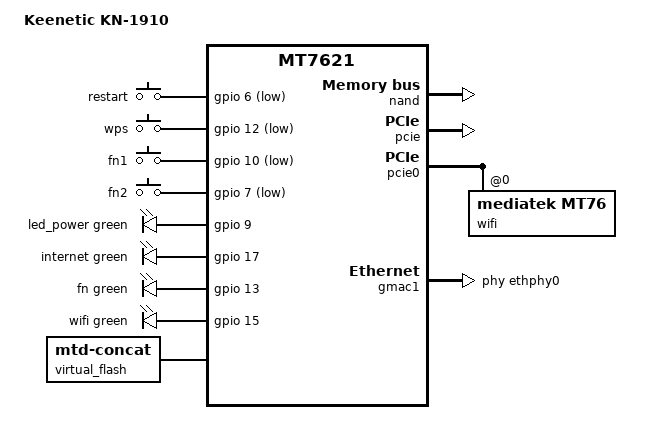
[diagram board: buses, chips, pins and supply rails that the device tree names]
// SPDX-License-Identifier: GPL-2.0-or-later OR MIT
#include "mt7621.dtsi"

#include <dt-bindings/gpio/gpio.h>
#include <dt-bindings/input/input.h>
#include <dt-bindings/leds/common.h>

/ {
	compatible = "keenetic,kn-1910", "mediatek,mt7621-soc";
	model = "Keenetic KN-1910";

	aliases {
		led-boot = &led_power;
		led-failsafe = &led_power;
		led-running = &led_power;
		led-upgrade = &led_power;
		label-mac-device = &gmac0;
	};

	keys {
		compatible = "gpio-keys";

		restart {
			label = "restart";
			gpios = <&gpio 6 GPIO_ACTIVE_LOW>;
			linux,code = <KEY_RESTART>;
		};

		wps {
			label = "wps";
			gpios = <&gpio 12 GPIO_ACTIVE_LOW>;
			linux,code = <KEY_WPS_BUTTON>;
		};

		fn1 {
			label = "fn1";
			gpios = <&gpio 10 GPIO_ACTIVE_LOW>;
			linux,code = <BTN_1>;
		};

		fn2 {
			label = "fn2";
			gpios = <&gpio 7 GPIO_ACTIVE_LOW>;
			linux,code = <BTN_2>;
		};
	};

	leds {
		compatible = "gpio-leds";

		led_power: power {
			function = LED_FUNCTION_POWER;
			color = <LED_COLOR_ID_GREEN>;
			gpios = <&gpio 9 GPIO_ACTIVE_HIGH>;
		};

		internet {
			function = LED_FUNCTION_WAN;
			color = <LED_COLOR_ID_GREEN>;
			gpios = <&gpio 17 GPIO_ACTIVE_HIGH>;
		};

		fn {
			function = LED_FUNCTION_WLAN_2GHZ;
			color = <LED_COLOR_ID_GREEN>;
			gpios = <&gpio 13 GPIO_ACTIVE_HIGH>;
			linux,default-trigger = "phy0tpt";
		};

		wifi {
			function = LED_FUNCTION_WLAN_5GHZ;
			color = <LED_COLOR_ID_GREEN>;
			gpios = <&gpio 15 GPIO_ACTIVE_HIGH>;
			linux,default-trigger = "phy1tpt";
		};
	};

	virtual_flash {
		compatible = "mtd-concat";
		devices = <&firmware1 &firmware2 &storage_a &storage_b>;

		partitions {
			compatible = "fixed-partitions";
			#address-cells = <1>;
			#size-cells = <1>;

			partition@0 {
				label = "kernel";
				reg = <0x0 0x400000>;
			};

			partition@400000 {
				label = "ubi";
				reg = <0x400000 0x7540000>;
			};
		};
	};
};

&nand {
	status = "okay";

	partitions {
		compatible = "fixed-partitions";
		#address-cells = <1>;
		#size-cells = <1>;

		partition@0 {
			label = "U-Boot";
			reg = <0x0 0x80000>;
			read-only;
		};

		partition@80000 {
			label = "U-Config";
			reg = <0x80000 0x80000>;
			read-only;
		};

		partition@100000 {
			label = "RF-EEPROM";
			reg = <0x100000 0x80000>;
			read-only;

			nvmem-layout {
					compatible = "fixed-layout";
					#address-cells = <1>;
					#size-cells = <1>;

					eeprom_factory_0: eeprom@0 {
						reg = <0x0 0x4da8>;
					};

					macaddr_factory_4: macaddr@4 {
						reg = <0x4 0x6>;
					};

					macaddr_factory_28: macaddr@28 {
						reg = <0x28 0x6>;
					};
			};
		};

		firmware1: partition@180000 {
			label = "Firmware_1";
			reg = <0x180000 0x1bc0000>;
		};

		partition@1d40000 {
			label = "Config_1";
			reg = <0x1d40000 0x80000>;
			read-only;
		};

		partition@1dc0000 {
			label = "Storage_Legacy";
			reg = <0x1dc0000 0x200000>;
			read-only;
		};

		partition@1fc0000 {
			label = "Dump";
			reg = <0x1fc0000 0x40000>;
			read-only;
		};

		storage_a: partition@2000000 {
			label = "Storage_A";
			reg = <0x2000000 0x1fc0000>;
		};

		partition@3fc0000 {
			label = "U-State";
			reg = <0x3fc0000 0x80000>;
			read-only;
		};

		partition@4040000 {
			label = "U-Config_res";
			reg = <0x4040000 0x80000>;
			read-only;
		};

		partition@40c0000 {
			label = "RF-EEPROM_res";
			reg = <0x40c0000 0x80000>;
			read-only;
		};

		firmware2: partition@4140000 {
			label = "Firmware_2";
			reg = <0x4140000 0x1bc0000>;
		};

		partition@5d00000 {
			label = "Config_2";
			reg = <0x5d00000 0x80000>;
			read-only;
		};

		storage_b: partition@5d80000 {
			label = "Storage_B";
			reg = <0x5d80000 0x2200000>;
		};
	};
};

&pcie {
	status = "okay";
};

&pcie0 {
	wifi@0,0 {
		compatible = "mediatek,mt76";
		reg = <0x0000 0 0 0 0>;
		nvmem-cells = <&eeprom_factory_0>;
		nvmem-cell-names = "eeprom";
	};
};

&ethphy0 {
	/delete-property/ interrupts;
};

&gmac0 {
	nvmem-cells = <&macaddr_factory_4>;
	nvmem-cell-names = "mac-address";
};

&gmac1 {
	status = "okay";
	label = "wan";
	phy-handle = <&ethphy0>;

	nvmem-cells = <&macaddr_factory_28>;
	nvmem-cell-names = "mac-address";
};

&reg_vbus {
	/delete-property/ regulator-always-on;
	gpios = <&gpio 5 GPIO_ACTIVE_HIGH>;
	enable-active-high;
};

&reg_vusb33 {
	/delete-property/ regulator-always-on;
	gpios = <&gpio 11 GPIO_ACTIVE_HIGH>;
	enable-active-high;
};

&switch0 {
	ports {
		port@1 {
			status = "okay";
		};

		port@2 {
			status = "okay";
		};

		port@3 {
			status = "okay";
		};

		port@4 {
			status = "okay";
		};
	};
};
